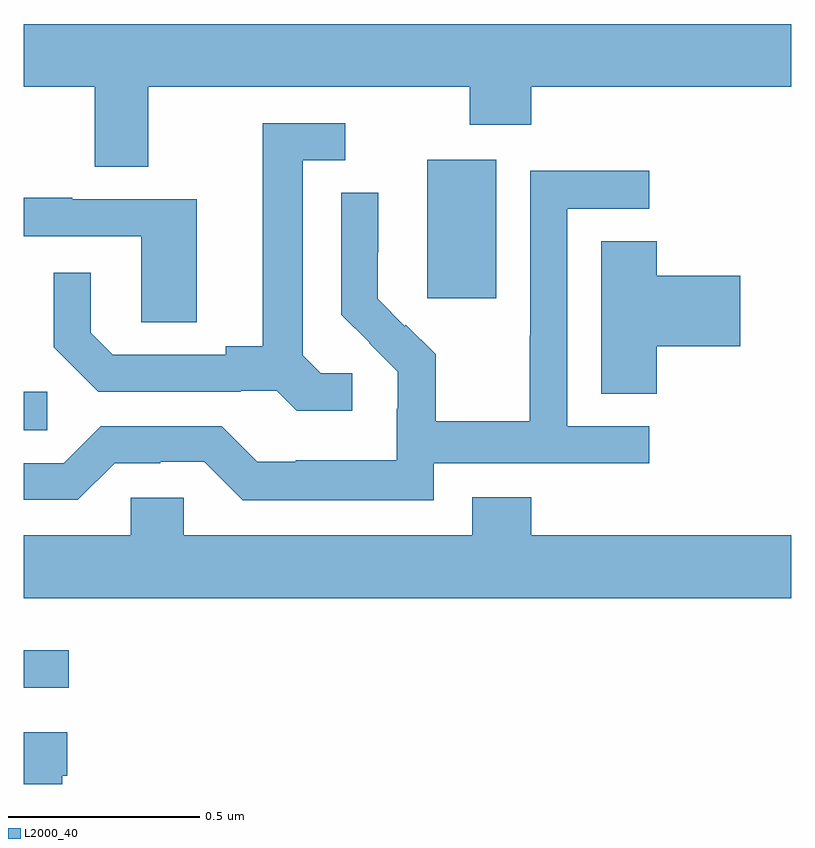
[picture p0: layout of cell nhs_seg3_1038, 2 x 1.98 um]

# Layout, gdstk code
import gdstk
lib = gdstk.Library(unit=1e-6, precision=1e-09)
def R(c, l, rs):  # rectangles x0, y0, x1, y1
    for r in rs: c.add(gdstk.rectangle(r[:2], r[2:], *l))
def P(c, l, *ps):  # polygons
    for p in ps: c.add(gdstk.Polygon(p, *l))
L2000_40 = (2000, 40)

nhs_seg3_1038 = lib.new_cell('nhs_seg3_1038')
R(nhs_seg3_1038, L2000_40, [(123,732.651,123.118,732.748), (123,733.321,123.061,733.422), (124.052,733.665,124.231,734.026)])
P(nhs_seg3_1038, L2000_40, [(123.325,734.216),(124.162,734.216),(124.162,734.117),(124.322,734.117),(124.322,734.216),(125,734.216),(125,734.38),(123,734.38),(123,734.216),(123.185,734.216),(123.185,734.008),(123.325,734.008)],
  [(123.856,733.47),(123.774,733.47),(123.727,733.517),(123.727,734.025),(123.838,734.025),(123.838,734.121),(123.623,734.121),(123.623,733.541),(123.527,733.541),(123.527,733.518),(123.232,733.518),(123.175,733.575),(123.175,733.732),(123.078,733.732),(123.078,733.538),(123.194,733.422),(123.566,733.422),(123.566,733.425),(123.66,733.425),(123.712,733.373),(123.856,733.373)],
  [(124.068,733.236),(124.63,733.236),(124.63,733.332),(124.416,733.332),(124.416,733.899),(124.63,733.899),(124.63,733.998),(124.32,733.998),(124.32,733.568),(124.318,733.568),(124.318,733.345),(124.073,733.345),(124.073,733.519),(123.996,733.596),(123.993,733.593),(123.923,733.664),(123.923,733.786),(123.924,733.786),(123.924,733.94),(123.828,733.94),(123.828,733.622),(123.901,733.549),(123.9,733.548),(123.974,733.474),(123.974,733.377),(123.972,733.377),(123.972,733.243),(123.709,733.243),(123.709,733.239),(123.609,733.239),(123.516,733.332),(123.201,733.332),(123.105,733.236),(123,733.236),(123,733.14),(123.141,733.14),(123.237,733.236),(123.356,733.236),(123.356,733.239),(123.471,733.239),(123.571,733.139),(124.068,733.139)],
  [(123.451,733.923),(123.127,733.923),(123.127,733.927),(123,733.927),(123,733.827),(123.306,733.827),(123.306,733.603),(123.451,733.603)],
  [(124.649,733.541),(124.867,733.541),(124.867,733.724),(124.649,733.724),(124.649,733.814),(124.505,733.814),(124.505,733.417),(124.649,733.417)],
  [(125,733.048),(124.322,733.048),(124.322,733.147),(124.169,733.147),(124.169,733.048),(123.417,733.048),(123.417,733.146),(123.279,733.146),(123.279,733.048),(123,733.048),(123,732.884),(125,732.884)],
  [(123.1,732.422),(123.113,732.422),(123.113,732.535),(123,732.535),(123,732.4),(123.1,732.4)])

lib.write_gds('nhs_seg3_1038.gds')
